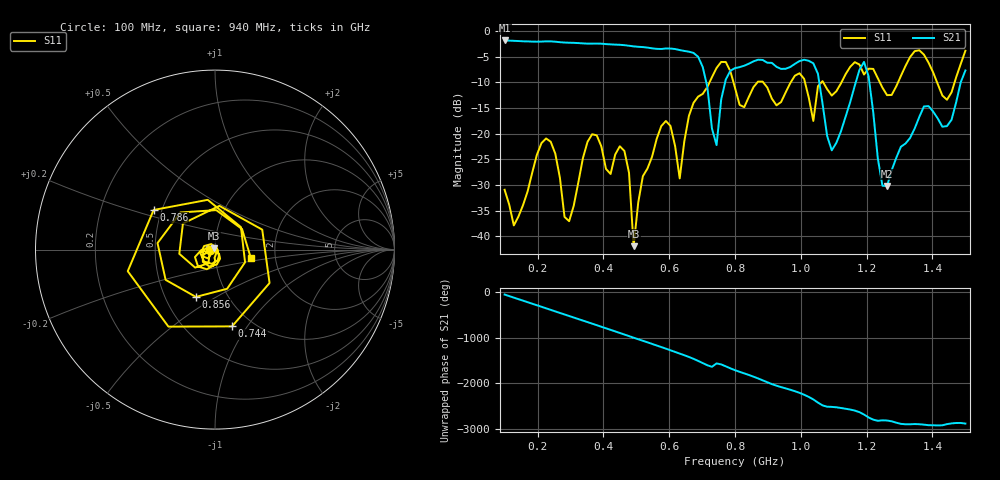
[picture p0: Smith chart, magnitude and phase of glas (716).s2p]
! NanoVNA-App
! Date: 2025-09-25 16:01:03
! Start: 100MHz Stop: 1,5GHz Points: 101
! S-Parameter data: F S11 S21 S12 S22
# Hz S RI R 50
!  Frequency  S11_Real  S11_Imag  S21_Real  S21_Imag  S12_Real  S12_Imag  S22_Real  S22_Imag
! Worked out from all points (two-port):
!   101 points, 100 MHz to 1.5 GHz, reference 50 ohm
!   highest |S21| = -1.80 dB at 100 MHz (marker M1); lowest = -30.2 dB at 1.262 GHz (marker M2)
!   |S21| within 3 dB of the highest: start of sweep to 684.6 MHz
!   lowest |S11| = -41.9 dB at 492 MHz (marker M3), VSWR 1.02, Z = 49.5 + j0.632 ohm
!   |S11| at or under -10 dB: start of sweep to 722.4 MHz; 795.5 MHz to 867.8 MHz (72.3 MHz wide, 8.69 % of centre); 886 MHz to 969 MHz (82.97 MHz wide, 8.95 % of centre) (the widest 3 of 7)
!   S12 and S22 are empty: the file has one direction only
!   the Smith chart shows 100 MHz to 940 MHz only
!   S11 on the Smith chart (normalised r, x): 100 MHz: 0.94, -0.01; 744 MHz: 0.81, -0.85; 786 MHz: 0.45, +0.24; 856 MHz: 0.71, -0.41; 940 MHz: 1.49, -0.14
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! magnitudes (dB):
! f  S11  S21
! 100 MHz  -30.9  -1.8
! 128 MHz  -37.9  -1.9
! 226 MHz  -20.9  -2.0
! 296 MHz  -37.1  -2.2
! 338 MHz  -24.7  -2.4
! 464 MHz  -23.4  -2.7
! 492 MHz  -41.9  -3.0
! 576 MHz  -18.5  -3.5
! 632 MHz  -28.7  -3.7
! 702 MHz  -12.2  -7.0
! 744 MHz  -7.2  -22.2
! 786 MHz  -7.8  -7.7
! 800 MHz  -11.1  -7.2
! 856 MHz  -10.9  -5.9
! 940 MHz  -13.8  -7.4
! 996 MHz  -8.2  -5.8
! 1.038 GHz  -17.5  -6.3
! 1.094 GHz  -12.6  -23.2
! 1.192 GHz  -8.4  -6.0
! 1.262 GHz  -12.5  -30.2
! 1.276 GHz  -12.4  -27.1
! 1.5 GHz  -3.8  -7.7
